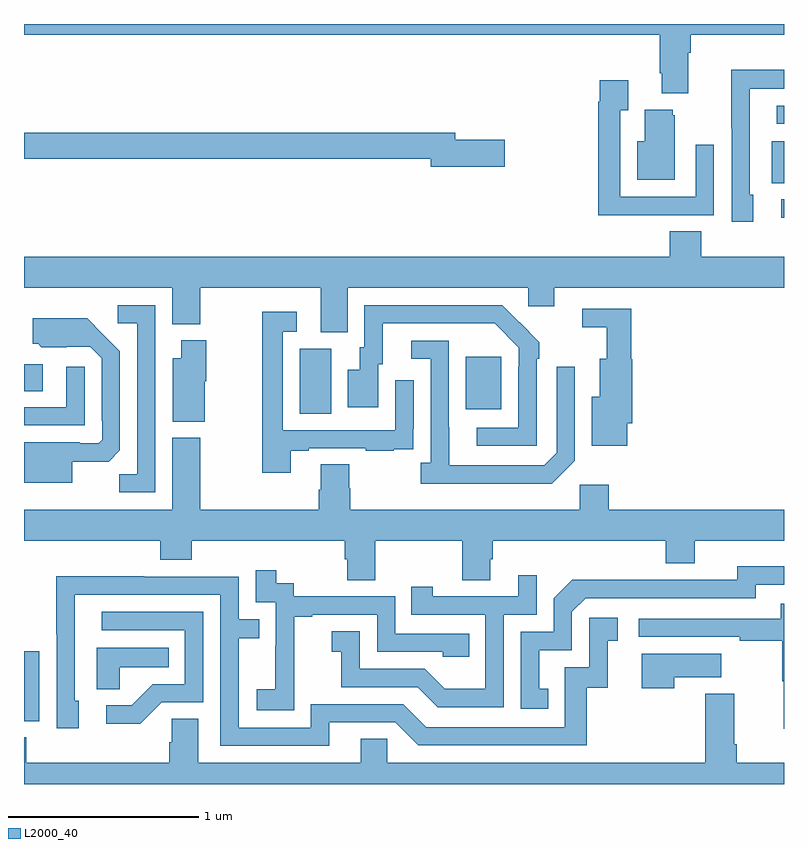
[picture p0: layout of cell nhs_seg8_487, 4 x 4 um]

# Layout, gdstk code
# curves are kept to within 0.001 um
import gdstk
lib = gdstk.Library(unit=1e-6, precision=1e-09)
def R(c, l, rs):  # rectangles x0, y0, x1, y1
    for r in rs: c.add(gdstk.rectangle(r[:2], r[2:], *l))
def P(c, l, *ps):  # polygons
    for p in ps: c.add(gdstk.Polygon(p, *l))
L2000_40 = (2000, 40)

nhs_seg8_487 = lib.new_cell('nhs_seg8_487')
R(nhs_seg8_487, L2000_40, [(143,1102.23,143.079,1102.6), (144.452,1103.848,144.616,1104.192), (145.325,1103.873,145.513,1104.148), (143,1103.968,143.098,1104.108), (146.985,1104.881,147,1104.978), (146.936,1105.063,147,1105.282), (146.961,1105.374,147,1105.47)])
P(nhs_seg8_487, L2000_40, [(146.497,1105.748),(146.51,1105.748),(146.51,1105.844),(147,1105.844),(147,1105.9),(143,1105.9),(143,1105.844),(146.345,1105.844),(146.345,1105.642),(146.357,1105.642),(146.357,1105.535),(146.497,1105.535)],
  [(146.839,1105.002),(146.82,1105.002),(146.82,1105.56),(147,1105.56),(147,1105.658),(146.722,1105.658),(146.722,1105.351),(146.724,1105.351),(146.724,1104.858),(146.839,1104.858)],
  [(146.315,1104.894),(146.631,1104.894),(146.631,1105.264),(146.535,1105.264),(146.535,1104.99),(146.139,1104.99),(146.139,1105.447),(146.179,1105.447),(146.179,1105.603),(146.031,1105.603),(146.031,1105.49),(146.023,1105.49),(146.023,1104.893),(146.315,1104.893)],
  [(146.425,1105.419),(146.414,1105.419),(146.414,1105.45),(146.267,1105.45),(146.267,1105.282),(146.228,1105.282),(146.228,1105.079),(146.425,1105.079)],
  [(145.531,1105.292),(145.27,1105.292),(145.27,1105.328),(143,1105.328),(143,1105.192),(145.142,1105.192),(145.142,1105.15),(145.531,1105.15)],
  [(144.703,1104.512),(145.653,1104.512),(145.653,1104.414),(145.792,1104.414),(145.792,1104.512),(147,1104.512),(147,1104.676),(146.564,1104.676),(146.564,1104.809),(146.399,1104.809),(146.399,1104.676),(143,1104.676),(143,1104.512),(143.78,1104.512),(143.78,1104.32),(143.928,1104.32),(143.928,1104.512),(144.563,1104.512),(144.563,1104.277),(144.703,1104.277)],
  [(143.691,1104.42),(143.493,1104.42),(143.493,1104.324),(143.595,1104.324),(143.595,1103.531),(143.5,1103.531),(143.5,1103.436),(143.691,1103.436)],
  [(145.698,1104.137),(145.713,1104.137),(145.713,1104.225),(145.516,1104.42),(144.792,1104.42),(144.792,1104.198),(144.767,1104.198),(144.767,1104.079),(144.704,1104.079),(144.704,1103.883),(144.865,1103.883),(144.865,1104.108),(144.889,1104.108),(144.889,1104.324),(145.477,1104.324),(145.605,1104.195),(145.605,1104.095),(145.602,1104.095),(145.602,1103.775),(145.383,1103.775),(145.383,1103.679),(145.698,1103.679)],
  [(146.176,1103.799),(146.201,1103.799),(146.201,1104.135),(146.195,1104.135),(146.195,1104.402),(145.938,1104.402),(145.938,1104.305),(146.067,1104.305),(146.067,1104.139),(146.03,1104.139),(146.03,1103.938),(145.988,1103.938),(145.988,1103.681),(146.176,1103.681)],
  [(144.403,1103.655),(144.499,1103.655),(144.499,1103.667),(144.799,1103.667),(144.799,1103.655),(144.947,1103.655),(144.947,1103.661),(145.049,1103.661),(145.049,1103.77),(145.05,1103.77),(145.05,1104.025),(144.954,1104.025),(144.954,1103.763),(144.363,1103.763),(144.363,1104.279),(144.436,1104.279),(144.436,1104.385),(144.255,1104.385),(144.255,1103.538),(144.403,1103.538)],
  [(143.254,1103.597),(143.446,1103.597),(143.505,1103.656),(143.505,1104.178),(143.333,1104.352),(143.045,1104.352),(143.045,1104.216),(143.076,1104.216),(143.092,1104.2),(143.349,1104.201),(143.409,1104.141),(143.409,1103.812),(143.412,1103.812),(143.412,1103.712),(143.394,1103.694),(143.294,1103.694),(143.294,1103.698),(143,1103.698),(143,1103.486),(143.254,1103.486)],
  [(143.95,1104.021),(143.958,1104.021),(143.958,1104.235),(143.828,1104.235),(143.828,1104.142),(143.783,1104.142),(143.783,1103.807),(143.95,1103.807)],
  [(145.899,1103.601),(145.899,1104.097),(145.803,1104.097),(145.803,1103.643),(145.737,1103.577),(145.237,1103.577),(145.236,1104.234),(145.038,1104.234),(145.038,1104.138),(145.14,1104.138),(145.14,1103.59),(145.089,1103.59),(145.089,1103.48),(145.778,1103.48)],
  [(143.319,1104.097),(143.223,1104.097),(143.223,1103.883),(143,1103.883),(143,1103.787),(143.319,1103.787)],
  [(144.849,1103.18),(145.306,1103.18),(145.306,1102.972),(145.453,1102.972),(145.453,1103.082),(145.466,1103.082),(145.466,1103.18),(146.378,1103.18),(146.378,1103.063),(146.53,1103.063),(146.53,1103.18),(147,1103.18),(147,1103.344),(146.078,1103.344),(146.078,1103.476),(145.926,1103.476),(145.926,1103.344),(144.716,1103.344),(144.716,1103.457),(144.711,1103.457),(144.711,1103.582),(144.563,1103.582),(144.563,1103.45),(144.551,1103.45),(144.551,1103.344),(143.928,1103.344),(143.928,1103.722),(143.78,1103.722),(143.78,1103.344),(143,1103.344),(143,1103.18),(143.717,1103.18),(143.717,1103.081),(143.882,1103.081),(143.882,1103.18),(144.689,1103.18),(144.689,1103.082),(144.701,1103.082),(144.701,1102.972),(144.849,1102.972)],
  [(145.76,1102.401),(145.711,1102.401),(145.711,1102.605),(145.884,1102.605),(145.884,1102.806),(145.956,1102.878),(146.85,1102.878),(146.85,1102.95),(147,1102.95),(147,1103.047),(146.754,1103.047),(146.754,1102.974),(146.294,1102.974),(146.294,1102.976),(145.886,1102.976),(145.788,1102.878),(145.788,1102.701),(145.614,1102.701),(145.614,1102.296),(145.76,1102.296)],
  [(144.423,1102.495),(144.422,1102.495),(144.422,1102.779),(144.517,1102.779),(144.517,1102.791),(144.858,1102.791),(144.858,1102.596),(145.203,1102.596),(145.203,1102.569),(145.343,1102.569),(145.343,1102.692),(144.954,1102.692),(144.954,1102.887),(144.42,1102.887),(144.42,1102.956),(144.328,1102.956),(144.328,1103.026),(144.219,1103.026),(144.219,1102.857),(144.324,1102.857),(144.324,1102.628),(144.323,1102.628),(144.323,1102.399),(144.225,1102.399),(144.225,1102.289),(144.423,1102.289)],
  [(145.524,1102.791),(145.698,1102.791),(145.698,1102.999),(145.601,1102.999),(145.601,1102.887),(145.15,1102.887),(145.15,1102.939),(145.039,1102.939),(145.039,1102.791),(145.428,1102.791),(145.428,1102.402),(145.214,1102.402),(145.11,1102.506),(144.768,1102.506),(144.768,1102.705),(144.621,1102.705),(144.621,1102.595),(144.67,1102.595),(144.67,1102.41),(145.073,1102.41),(145.178,1102.305),(145.524,1102.305)],
  [(144.607,1102.224),(144.954,1102.224),(145.074,1102.104),(145.961,1102.104),(145.961,1102.407),(146.072,1102.407),(146.072,1102.653),(146.125,1102.653),(146.125,1102.774),(145.974,1102.774),(145.974,1102.515),(145.845,1102.515),(145.845,1102.2),(145.116,1102.2),(144.996,1102.32),(144.51,1102.32),(144.51,1102.197),(144.129,1102.197),(144.129,1102.666),(144.239,1102.666),(144.239,1102.767),(144.129,1102.767),(144.129,1102.992),(143.633,1102.992),(143.633,1102.994),(143.17,1102.994),(143.17,1102.687),(143.172,1102.687),(143.172,1102.194),(143.287,1102.194),(143.287,1102.338),(143.268,1102.338),(143.268,1102.896),(144.033,1102.896),(144.033,1102.101),(144.607,1102.101)],
  [(147,1102.849),(146.983,1102.849),(146.983,1102.77),(146.235,1102.77),(146.235,1102.674),(146.767,1102.674),(146.767,1102.654),(146.991,1102.654),(146.991,1102.44),(146.998,1102.44),(146.998,1102.191),(147,1102.191)],
  [(143.724,1102.329),(143.943,1102.329),(143.943,1102.806),(143.409,1102.806),(143.409,1102.71),(143.847,1102.71),(143.847,1102.425),(143.678,1102.425),(143.567,1102.314),(143.433,1102.314),(143.433,1102.217),(143.611,1102.217)],
  [(143.505,1102.514),(143.762,1102.514),(143.762,1102.618),(143.384,1102.618),(143.384,1102.399),(143.505,1102.399)],
  [(146.423,1102.463),(146.671,1102.463),(146.671,1102.585),(146.252,1102.585),(146.252,1102.404),(146.423,1102.404)],
  [(143.917,1102.244),(143.778,1102.244),(143.778,1102.121),(143.765,1102.121),(143.765,1102.012),(143.012,1102.012),(143.012,1102.145),(143,1102.145),(143,1101.9),(147,1101.9),(147,1102.012),(146.75,1102.012),(146.75,1102.108),(146.737,1102.108),(146.737,1102.375),(146.585,1102.375),(146.585,1102.012),(144.912,1102.012),(144.912,1102.139),(144.773,1102.139),(144.773,1102.012),(143.917,1102.012)])

lib.write_gds('nhs_seg8_487.gds')
